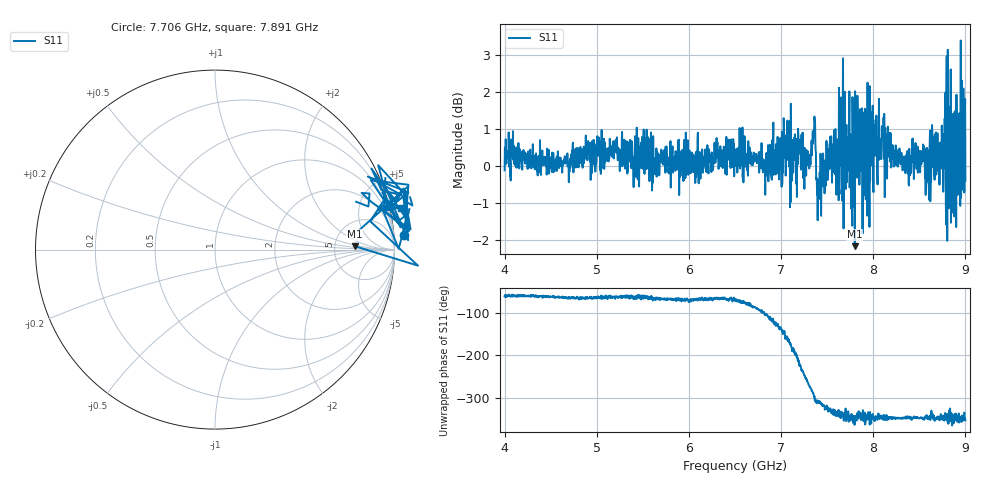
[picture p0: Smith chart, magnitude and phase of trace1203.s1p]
! Created with skrf 1.8.0 (http://scikit-rf.org).
# Hz S RI R 50.0
!freq ReS11 ImS11
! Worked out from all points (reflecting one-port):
!   1601 points, 4 GHz to 9 GHz, reference 50 ohm
!   lowest |S11| = -2.2 dB at 7.8 GHz (marker M1), VSWR 8.06, Z = 399 + j38.6 ohm
!   phase of S11 starts at -60 deg and turns -293 deg over the sweep
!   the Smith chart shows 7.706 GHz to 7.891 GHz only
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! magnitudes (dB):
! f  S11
! 4 GHz  -0.1
! 4.625 GHz  -0.2
! 5.25 GHz  -0.1
! 5.875 GHz  0.1
! 6.5 GHz  0.5
! 6.825 GHz  -0.1
! 6.997 GHz  0.6
! 7.05 GHz  -0.3
! 7.125 GHz  0.0
! 7.209 GHz  0.6
! 7.262 GHz  0.2
! 7.353 GHz  0.8
! 7.412 GHz  -0.4
! 7.647 GHz  1.3
! 7.75 GHz  -0.3
! 7.775 GHz  1.9
! 7.8 GHz  -2.2
! 8.062 GHz  1.8
! 8.088 GHz  0.2
! 8.375 GHz  0.0
! 8.441 GHz  -0.4
! 8.603 GHz  -0.5
! 8.656 GHz  0.8
! 8.766 GHz  0.9
! 8.791 GHz  -1.6
! 8.875 GHz  0.7
! 8.953 GHz  -0.9
! 9 GHz  -0.4
